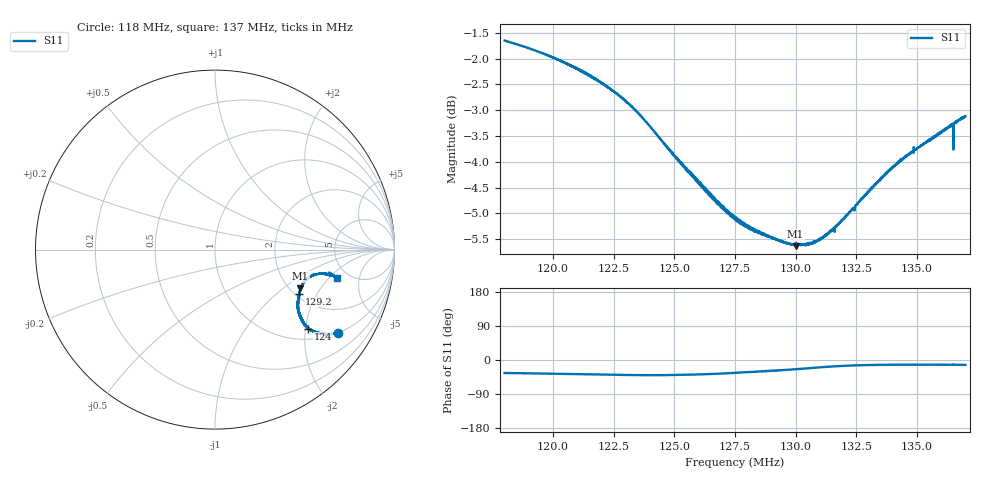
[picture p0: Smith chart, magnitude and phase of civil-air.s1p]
! Calibrated averaged scanner-service zoom
# Hz S RI R 50
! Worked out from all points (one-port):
!   2001 points, 118 MHz to 137 MHz, reference 50 ohm
!   lowest |S11| = -5.6 dB at 130 MHz (marker M1), VSWR 3.19, Z = 113 - j67.1 ohm
!   |S11| at or under -10 dB: nowhere
!   S11 on the Smith chart (normalised r, x): 118 MHz: 0.99, -2.93; 124 MHz: 1.27, -2.08; 129.2 MHz: 2.11, -1.44; 137 MHz: 4.05, -2.48
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1.18e8  0.6832 -0.4665
1.190545e8  0.6635 -0.4686
1.20375e8  0.6339 -0.4706
1.21686e8  0.5993 -0.4697
1.2275e8  0.5665 -0.4611
1.23396e8  0.5431 -0.4545
1.24023e8  0.5207 -0.4397
1.245455e8  0.5034 -0.424
1.25125e8  0.4907 -0.4032
1.263695e8  0.4683 -0.3564
1.269205e8  0.4624 -0.3335
1.275e8  0.4619 -0.3106
1.281935e8  0.4634 -0.2814
1.291815e8  0.4705 -0.2449
1.29875e8  0.4756 -0.2212
1.299985e8  0.4761 -0.2155
1.30502e8  0.4862 -0.1951
1.31015e8  0.5006 -0.175
1.31718e8  0.5257 -0.1548
1.3225e8  0.5465 -0.1433
1.32497e8  0.5559 -0.1398
1.333235e8  0.5858 -0.134
1.339695e8  0.6071 -0.1341
1.34625e8  0.6257 -0.1394
1.363825e8  0.6679 -0.1493
1.36411e8  0.6665 -0.1494
1.3662e8  0.6735 -0.1522
1.37e8  0.6809 -0.1564
